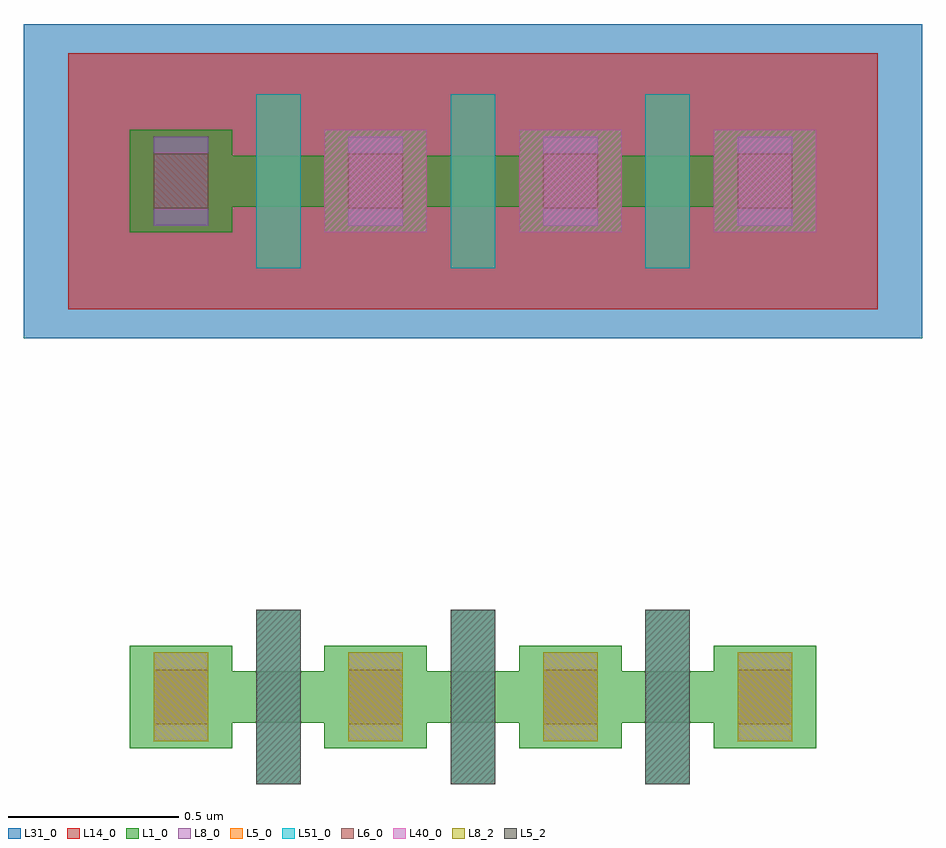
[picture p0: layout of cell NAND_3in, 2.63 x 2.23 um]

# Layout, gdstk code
import gdstk
lib = gdstk.Library(unit=1e-6, precision=1e-09)
def R(c, l, rs):  # rectangles x0, y0, x1, y1
    for r in rs: c.add(gdstk.rectangle(r[:2], r[2:], *l))
L1_0 = (1, 0)
L5_0 = (5, 0)
L5_2 = (5, 2)
L6_0 = (6, 0)
L8_0 = (8, 0)
L8_2 = (8, 2)
L14_0 = (14, 0)
L31_0 = (31, 0)
L40_0 = (40, 0)
L51_0 = (51, 0)

nmos = lib.new_cell('nmos')
R(nmos, L1_0, [(0,0,0.3,0.3), (0.57,0,0.87,0.3), (0,0.075,0.87,0.225)])
R(nmos, L5_0, [(0.37,-0.105,0.5,0.405)])
R(nmos, L5_2, [(0.37,-0.105,0.5,0.405)])
R(nmos, L6_0, [(0.07,0.07,0.23,0.23), (0.64,0.07,0.8,0.23)])
R(nmos, L8_0, [(0.07,0.02,0.23,0.28), (0.64,0.02,0.8,0.28)])
R(nmos, L8_2, [(0.07,0.02,0.23,0.28), (0.64,0.02,0.8,0.28)])
R(nmos, L51_0, [(0.37,-0.105,0.5,0.405)])
nmos.add(gdstk.Label('nmos', (0.435,0.15), layer=63, texttype=0))
nmos.add(gdstk.Label('nmos', (0.435,0.15), layer=51, texttype=0))

pmos = lib.new_cell('pmos')
R(pmos, L1_0, [(0,0,0.3,0.3), (0.57,0,0.87,0.3), (0,0.075,0.87,0.225)])
R(pmos, L5_0, [(0.37,-0.105,0.5,0.405), (0.37,-0.105,0.5,0.405)])
R(pmos, L6_0, [(0.07,0.07,0.23,0.23), (0.64,0.07,0.8,0.23)])
R(pmos, L8_0, [(0.07,0.02,0.23,0.28), (0.07,0.02,0.23,0.28), (0.64,0.02,0.8,0.28), (0.64,0.02,0.8,0.28)])
R(pmos, L14_0, [(-0.18,-0.225,1.05,0.525)])
R(pmos, L31_0, [(-0.31,-0.31,1.18,0.61)])
R(pmos, L40_0, [(0.57,0,0.87,0.3)])
R(pmos, L51_0, [(0.37,-0.105,0.5,0.405)])
pmos.add(gdstk.Label('pmos', (0.435,0.15), layer=63, texttype=0))
pmos.add(gdstk.Label('pmos', (0.435,0.15), layer=51, texttype=0))

nand_3in = lib.new_cell('NAND_3in')
nand_3in.add(gdstk.Reference(nmos, (8.205,7.97)))
nand_3in.add(gdstk.Reference(pmos, (8.205,9.48)))
nand_3in.add(gdstk.Reference(nmos, (8.775,7.97)))
nand_3in.add(gdstk.Reference(nmos, (9.345,7.97)))
nand_3in.add(gdstk.Reference(pmos, (8.775,9.48)))
nand_3in.add(gdstk.Reference(pmos, (9.345,9.48)))

lib.write_gds('NAND_3in.gds')
